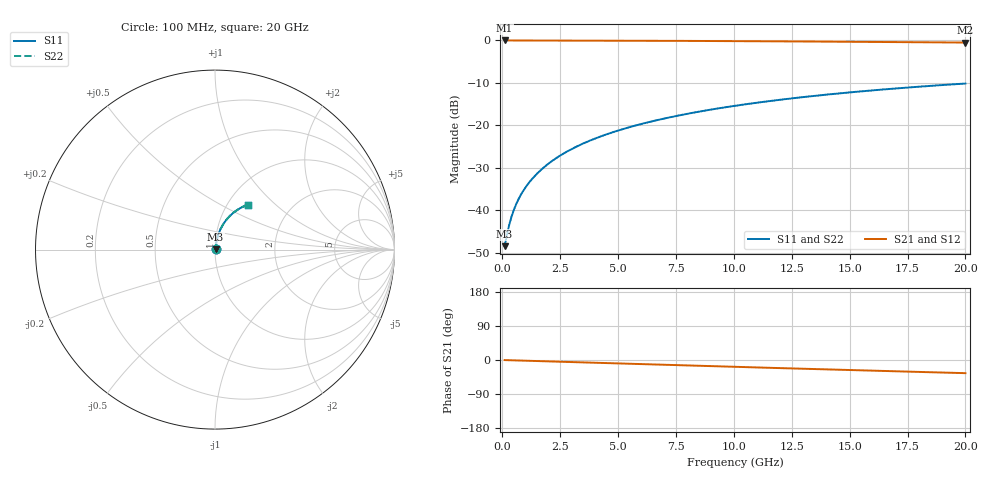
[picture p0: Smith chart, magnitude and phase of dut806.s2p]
! Touchstone file exported from HFSS 2026.1.0
!  File:  C:/ffzhzh/LocalFiles/Ansys_Project_Files/temp_train_BSMRDL_806_1783169798_51560.aedt
!  Generated:  08:57:57 PM Jul  4, 2026
!  Design:  BSMRDL
!  Project:  temp_train_BSMRDL_806_1783169798_51560
! Variables:
!  h_bsmrdl = 2.16um
!  h_ox = 20um
!  h_rdl = 5um
!  h_sub = 80um
!  h_tmrdl = 5um
!  h_tsv = 80um
!  h_via = 3um
!  l_bsmrdl = 487.53um
!  l_sub = 887.53um
!  l_tmrdl = 200um
!  m_sub = 200um
!  pitch = 52.61um
!  r_tsv = 6um
!  s_tmrdl = 10um
!  w_bsmrdl = 28.07um
!  w_sub = 500um
!  w_tmrdl = 12um
!  x_tsv_center1 = 206um
!  x_tsv_center2 = 721.6um
!  x_tsv_center3 = 933.6um
!  x_tsv_center4 = 1449.2um
!  x_tsv_center5 = 1661.2um
!  x_tsv_center6 = 2176.8um
# GHz S MA R 50.000000
! Terminal data exported
! Port[1] = BSM_RDL1_1_T1
! Port[2] = BSM_RDL1_1_T2
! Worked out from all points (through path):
!   200 points, 100 MHz to 20 GHz, reference 50 ohm
!   highest |S21| = -0.03 dB at 100 MHz (marker M1); lowest = -0.5 dB at 20 GHz (marker M2)
!   group delay of S21, straight-line fit = 4.83 ps
!   lowest |S11| = -48.4 dB at 100 MHz (marker M3), VSWR 1.01, Z = 50.3 + j0.199 ohm
!   |S11| at or under -10 dB: start of sweep to end of sweep
!   |S22| runs from -48.4 to -10.2 dB; largest |S21 - S12| = 2.6e-15
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0.1  0.003806 31.2  0.9968 -0.2  0.9968 -0.2  0.003806 31.2
! Gamma 0 0 0 0
! Port Impedance 50 0 50 0
0.2  0.005169 49.2  0.9966 -0.4  0.9966 -0.4  0.005169 49.2
0.3  0.006796 58.4  0.9965 -0.6  0.9965 -0.6  0.006796 58.4
0.4  0.008489 63.7  0.9963 -0.8  0.9963 -0.8  0.008489 63.7
0.5  0.01019 67.1  0.9962 -0.9  0.9962 -0.9  0.01019 67.1
0.6  0.01188 69.5  0.996 -1.1  0.996 -1.1  0.01188 69.5
0.8  0.01525 72.8  0.9958 -1.5  0.9958 -1.5  0.01525 72.8
1.1  0.0203 75.6  0.9955 -2.0  0.9955 -2.0  0.0203 75.7
1.3  0.02369 76.9  0.9953 -2.4  0.9953 -2.4  0.02369 76.9
1.6  0.02879 78.1  0.9951 -2.9  0.9951 -2.9  0.02879 78.1
2.1  0.03734 79.1  0.9947 -3.8  0.9947 -3.8  0.03734 79.1
2.7  0.04764 79.4  0.9942 -4.9  0.9942 -4.9  0.04764 79.4
3.5  0.06138 79.1  0.9933 -6.4  0.9933 -6.4  0.06138 79.1
4.2  0.07337 78.5  0.9924 -7.6  0.9924 -7.6  0.07337 78.5
5  0.087 77.6  0.9911 -9.1  0.9911 -9.1  0.087 77.6
5.9  0.1022 76.3  0.9895 -10.7  0.9895 -10.7  0.1022 76.4
6.8  0.1173 75.0  0.9876 -12.3  0.9876 -12.3  0.1173 75.0
8.3  0.142 72.7  0.984 -14.9  0.984 -14.9  0.142 72.7
10.1  0.1708 69.8  0.979 -18.1  0.979 -18.1  0.1708 69.8
13.4  0.2212 64.3  0.968 -23.8  0.968 -23.8  0.2212 64.4
16.7  0.2679 59.0  0.9554 -29.3  0.9554 -29.3  0.2679 59.0
20  0.3106 53.7  0.9418 -34.7  0.9418 -34.7  0.3106 53.7
